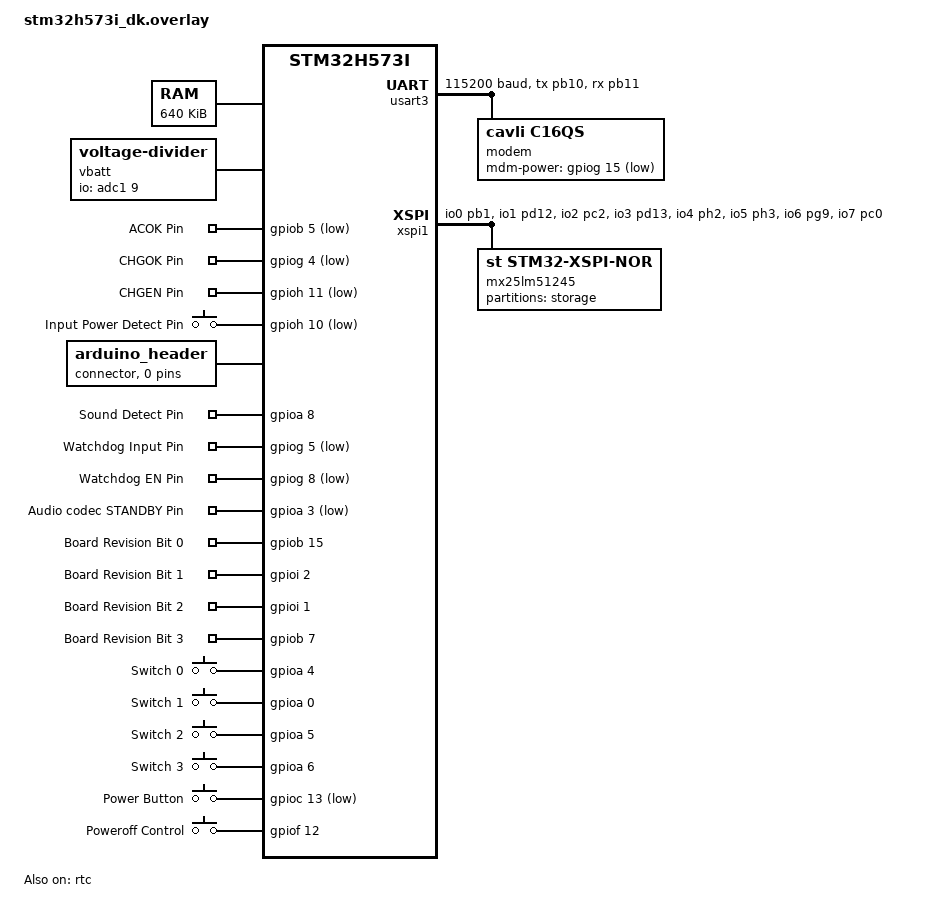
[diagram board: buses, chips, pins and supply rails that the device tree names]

/ {
    /delete-node/ memory@20000000;
    /delete-node/ memory@20040000;
    /delete-node/ memory@20050000;

    sram: memory@20000000 {
			compatible = "zephyr,memory-region", "mmio-sram";
			reg = <0x20000000 DT_SIZE_K(640)>;
			zephyr,memory-region = "SRAM";
	};
};

/  {
	chosen {
		zephyr,sram = &sram;

	};
};

/ {
    vbatt {
        compatible = "voltage-divider";
        io-channels = <&adc1 9>; //adc1_inp9_pb0
        output-ohms = <10000>;
        full-ohms = <(68000 + 10000)>;
    };
};

/  {
    charger_pins: charger_pins {
        compatible = "gpio-keys";

        acok_gpios: acok_gpios {
            gpios = <&gpiob 5 (GPIO_ACTIVE_LOW)>; //D3
            label = "ACOK Pin";
        };

        chgok_gpios: chgok_gpios {
            gpios = <&gpiog 4 (GPIO_ACTIVE_LOW)>; //D4
            label = "CHGOK Pin";
        };
        chgen_gpios: chgen_gpios {
            gpios = <&gpioh 11 (GPIO_ACTIVE_LOW)>; //D5
            label = "CHGEN Pin";
        };
        input_power_gpios: input_power_gpios {
            gpios = <&gpioh 10 (GPIO_ACTIVE_LOW)>; //D6
            label = "Input Power Detect Pin";
        };
    };

    aliases {
        acok = &acok_gpios;
        chgok = &chgok_gpios;
        chgen = &chgen_gpios;
        inputp = &input_power_gpios;
    };
};

/ {
    aliases {
        modem = &modem;
    };
};

&usart3 {
    current-speed = <115200>;
    // hw-flow-control;
    pinctrl-names = "default";
    status = "okay";

    pinctrl-0 = <&usart3_tx_pb10 &usart3_rx_pb11>;

    modem: modem {
        compatible = "cavli,c16qs";
        status = "okay";
        mdm-power-gpios = <&gpiog 15 GPIO_ACTIVE_LOW>;
    };

    // esp8266 { // ESP8266 temporary only for Wi-Fi debugging
    //     compatible = "espressif,esp-at";
    //     status = "okay";
    //     external-reset;
    //     target-speed = <115200>;
    // };
};

/ {
    arduino_header: connector {
        gpio-map = <>;
    };
};

/ {
    aliases {
        led1 = &red_led_0;
        led2 = &orange_led_0;
        led3 = &green_led_0;
    };
};

/  {
    microphone_pin: microphone_pin {
        compatible = "gpio-keys";

        microphone_gpio: microphone_gpio {
            gpios = <&gpioa 8 (GPIO_ACTIVE_HIGH)>; //D9
            label = "Sound Detect Pin";
        };
    };

    aliases {
        microphone = &microphone_gpio;
    };
};

/  {
    watchdog_pins: watchdog_pins {
        compatible = "gpio-keys";

        wdi_gpios: wdi_gpios {
            gpios = <&gpiog 5 (GPIO_ACTIVE_LOW)>; //D7
            label = "Watchdog Input Pin";
        };

        wden_gpios: wden_gpios {
            gpios = <&gpiog 8 (GPIO_ACTIVE_LOW)>; //D8
            label = "Watchdog EN Pin";
        };
    };

    aliases {
        wdi = &wdi_gpios;
        wden = &wden_gpios;
    };
};

/  {
    audio_codec_gpio: audio_codec_gpio {
        compatible = "gpio-keys";

        codec_standby_gpios: codec_standby_gpios {
            gpios = <&gpioa 3 (GPIO_ACTIVE_LOW)>; //D10
            label = "Audio codec STANDBY Pin";
        };
    };

    aliases {
        codec-standby-pin = &codec_standby_gpios;
    };
};


/ {
    board_rev_pins: board_rev_pins {
        compatible = "gpio-keys";

        rev0_gpio: rev0_gpio {
            gpios = <&gpiob 15 (GPIO_PULL_DOWN | GPIO_ACTIVE_HIGH)>; // D11
            label = "Board Revision Bit 0";
        };

        rev1_gpio: rev1_gpio {
            gpios = <&gpioi 2 (GPIO_PULL_DOWN | GPIO_ACTIVE_HIGH)>; // D12
            label = "Board Revision Bit 1";
        };

        rev2_gpio: rev2_gpio {
            gpios = <&gpioi 1 (GPIO_PULL_DOWN | GPIO_ACTIVE_HIGH)>; // D13
            label = "Board Revision Bit 2";
        };

        rev3_gpio: rev3_gpio {
            gpios = <&gpiob 7 (GPIO_PULL_DOWN | GPIO_ACTIVE_HIGH)>; // D14
            label = "Board Revision Bit 3";
        };
    };

    aliases {
        rev0 = &rev0_gpio;
        rev1 = &rev1_gpio;
        rev2 = &rev2_gpio;
        rev3 = &rev3_gpio;
    };
};


/ {
    switches: switches {
        compatible = "gpio-keys";

        switch0: switch0 {
            gpios = <&gpioa 4 (GPIO_PULL_DOWN | GPIO_ACTIVE_HIGH)>; //A1
            label = "Switch 0";
        };
        switch1: switch1 {
            gpios = <&gpioa 0 (GPIO_PULL_DOWN | GPIO_ACTIVE_HIGH)>; //A2
            label = "Switch 1";
        };
        switch2: switch2 {
            gpios = <&gpioa 5 (GPIO_PULL_DOWN | GPIO_ACTIVE_HIGH)>; //A3
            label = "Switch 2";
        };
        switch3: switch3 {
            gpios = <&gpioa 6 (GPIO_PULL_DOWN | GPIO_ACTIVE_HIGH)>; //A4
            label = "Switch 3";
        };
    };

    aliases {
        switch0 = &switch0;
        switch1 = &switch1;
        switch2 = &switch2;
        switch3 = &switch3;
    };
};

/ {
    power_sw: power_sw {
        compatible = "gpio-keys";
        power_sw_gpio: power_sw_gpio {
            gpios = <&gpioc 13 GPIO_ACTIVE_LOW>; //PC13
            label = "Power Button";
        };

        poweroff_gpio: poweroff_gpio {

            gpios = <&gpiof 12 GPIO_ACTIVE_HIGH>; //A5
            label = "Poweroff Control";
        };
    };


    aliases {
        power-sw = &power_sw_gpio;
        poweroff-gpio = &poweroff_gpio;
    };

    sw0 {
        status = "disabled";
    };
};

&flash0 {
    partitions {

        /delete-node/ partition@0;
        /delete-node/ partition@10000;
        /delete-node/ partition@78000;
        /delete-node/ partition@e0000;
        /delete-node/ partition@f0000;

        compatible = "fixed-partitions";
        #address-cells = <1>;
        #size-cells = <1>;

        /* Bank 1: 0x08000000 - 0x080FFFFF */
        boot_partition: partition@0 {
            label = "mcuboot";
            reg = <0x00000000 DT_SIZE_K(64)>;
        };

        slot0_partition: partition@10000 {
            label = "image-0";
            reg = <0x00010000 DT_SIZE_K(960)>; // 1024K - 64K
        };

        /* Bank 2: 0x08100000 - 0x081FFFFF */
        slot1_partition: partition@100000 {
            label = "image-1";
            reg = <0x00100000 DT_SIZE_K(960)>; // 1024K - 64K
        };

        free_storage_partition: partition@1f0000 {
            label = "free_storage";
            reg = <0x001f0000 DT_SIZE_K(64)>;
        };
    };
};


&xspi1 {
    pinctrl-0 = <&octospi1_io0_pb1 &octospi1_io1_pd12
    &octospi1_io2_pc2 &octospi1_io3_pd13
    &octospi1_io4_ph2 &octospi1_io5_ph3
    &octospi1_io6_pg9 &octospi1_io7_pc0
    &octospi1_clk_pf10 &octospi1_ncs_pg6
    &octospi1_dqs_pb2>;
    pinctrl-names = "default";

    status = "okay";

    mx25lm51245: ospi-nor-flash@90000000 {
        compatible = "st,stm32-xspi-nor";
        reg = <0x90000000 DT_SIZE_M(64)>; /* 512 Mbits */
        ospi-max-frequency = <DT_FREQ_M(50)>;
        spi-bus-width = <XSPI_OCTO_MODE>;
        data-rate = <XSPI_DTR_TRANSFER>;
        four-byte-opcodes;
        status = "okay";

        partitions {
            compatible = "fixed-partitions";
            #address-cells = <1>;
            #size-cells = <1>;

            storage_partition: partition@0 {
                label = "storage";
                reg = <0x00000000 DT_SIZE_M(64)>;
            };
        };
    };
};

&rtc {
	clocks = <&rcc STM32_CLOCK_BUS_APB3 0x00200000>,
		 <&rcc STM32_SRC_LSE RTC_SEL(1)>;
	status = "okay";
};

/ {
	aliases {
		rtc = &rtc;
	};
};
